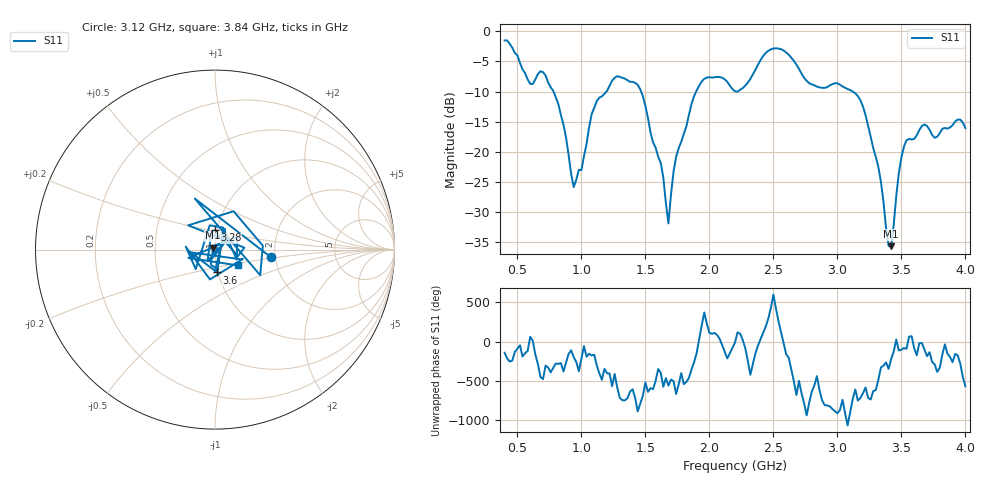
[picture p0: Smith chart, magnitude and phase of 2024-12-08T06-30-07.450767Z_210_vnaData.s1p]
!Created with skrf (http://scikit-rf.org).
# Hz S RI R 50.0
!freq ReS11 ImS11
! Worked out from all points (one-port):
!   181 points, 400 MHz to 4 GHz, reference 50 ohm
!   lowest |S11| = -35.7 dB at 3.42 GHz (marker M1), VSWR 1.03, Z = 48.8 + j1.08 ohm
!   |S11| at or under -10 dB: 782.3 MHz to 1.196 GHz (413.5 MHz wide, 41.8 % of centre); 1.466 GHz to 1.897 GHz (430.3 MHz wide, 25.6 % of centre); 3.119 GHz to end of sweep (the widest 3 of 4)
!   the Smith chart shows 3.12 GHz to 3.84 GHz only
!   S11 on the Smith chart (normalised r, x): 3.12 GHz: 1.90, -0.18; 3.28 GHz: 0.97, +0.21; 3.6 GHz: 0.99, -0.26; 3.84 GHz: 1.28, -0.23
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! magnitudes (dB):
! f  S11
! 400 MHz  -1.5
! 600 MHz  -8.7
! 720 MHz  -7.3
! 860 MHz  -15.5
! 940 MHz  -25.9
! 1.12 GHz  -11.6
! 1.3 GHz  -7.6
! 1.48 GHz  -10.8
! 1.62 GHz  -21.8
! 1.68 GHz  -31.9
! 1.72 GHz  -23.2
! 1.76 GHz  -19.4
! 1.96 GHz  -7.9
! 2.2 GHz  -10.0
! 2.48 GHz  -3.0
! 2.66 GHz  -4.9
! 2.78 GHz  -8.6
! 3.1 GHz  -9.8
! 3.12 GHz  -10.0
! 3.28 GHz  -19.4
! 3.34 GHz  -25.0
! 3.4 GHz  -35.6
! 3.42 GHz  -35.7
! 3.5 GHz  -20.9
! 3.56 GHz  -17.9
! 3.6 GHz  -17.9
! 3.84 GHz  -16.1
! 4 GHz  -16.1
